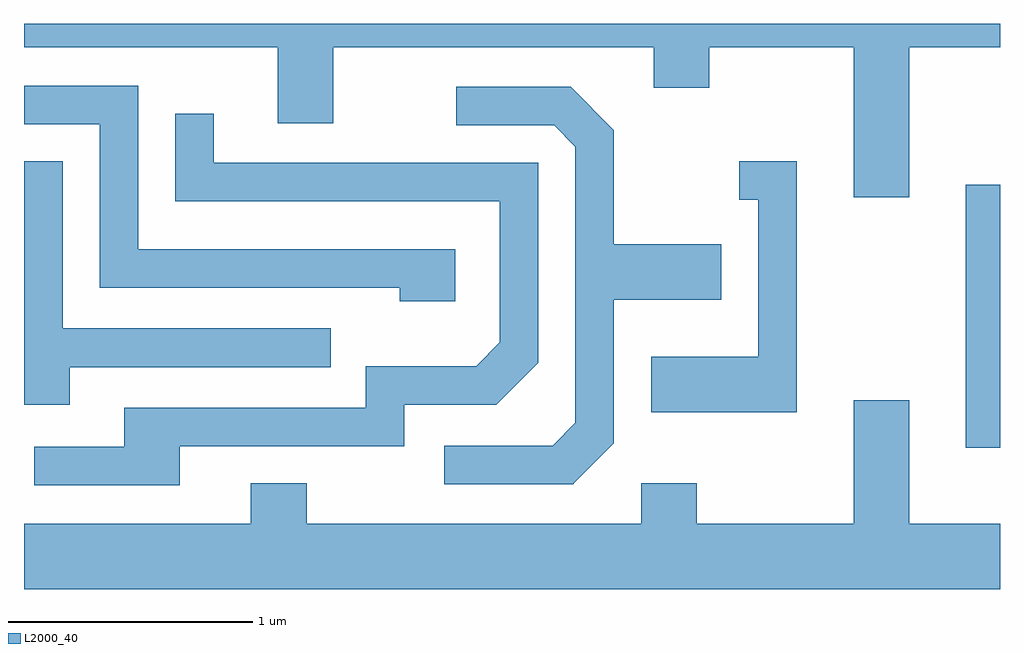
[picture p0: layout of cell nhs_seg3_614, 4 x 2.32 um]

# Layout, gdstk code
import gdstk
lib = gdstk.Library(unit=1e-6, precision=1e-09)
def R(c, l, rs):  # rectangles x0, y0, x1, y1
    for r in rs: c.add(gdstk.rectangle(r[:2], r[2:], *l))
def P(c, l, *ps):  # polygons
    for p in ps: c.add(gdstk.Polygon(p, *l))
L2000_40 = (2000, 40)

nhs_seg3_614 = lib.new_cell('nhs_seg3_614')
R(nhs_seg3_614, L2000_40, [(207.471,1122.156,207.611,1123.234)])
P(nhs_seg3_614, L2000_40, [(207.239,1123.796),(207.611,1123.796),(207.611,1123.892),(203.611,1123.892),(203.611,1123.796),(204.651,1123.796),(204.651,1123.486),(204.879,1123.486),(204.879,1123.796),(206.191,1123.796),(206.191,1123.631),(206.419,1123.631),(206.419,1123.796),(207.011,1123.796),(207.011,1123.181),(207.239,1123.181)],
  [(205.379,1122.969),(204.079,1122.969),(204.079,1123.639),(203.611,1123.639),(203.611,1123.481),(203.921,1123.481),(203.921,1122.811),(205.151,1122.811),(205.151,1122.756),(205.379,1122.756)],
  [(205.868,1122.013),(206.029,1122.174),(206.029,1122.761),(206.469,1122.761),(206.469,1122.989),(206.029,1122.989),(206.029,1123.457),(205.852,1123.634),(205.383,1123.634),(205.383,1123.476),(205.784,1123.476),(205.871,1123.389),(205.871,1122.257),(205.779,1122.164),(205.333,1122.164),(205.333,1122.006),(205.862,1122.006)],
  [(204.249,1122.161),(205.169,1122.161),(205.169,1122.331),(205.547,1122.331),(205.719,1122.504),(205.719,1123.324),(204.389,1123.324),(204.389,1123.523),(204.231,1123.523),(204.231,1123.166),(205.561,1123.166),(205.561,1122.587),(205.464,1122.489),(205.011,1122.489),(205.011,1122.319),(204.021,1122.319),(204.021,1122.159),(203.653,1122.159),(203.653,1122.001),(204.249,1122.001)],
  [(203.799,1122.486),(204.868,1122.486),(204.868,1122.644),(203.769,1122.644),(203.769,1123.329),(203.611,1123.329),(203.611,1122.331),(203.799,1122.331)],
  [(206.779,1123.329),(206.543,1123.329),(206.543,1123.171),(206.621,1123.171),(206.621,1122.529),(206.181,1122.529),(206.181,1122.301),(206.779,1122.301)],
  [(207.611,1121.844),(207.239,1121.844),(207.239,1122.349),(207.011,1122.349),(207.011,1121.844),(206.369,1121.844),(206.369,1122.009),(206.141,1122.009),(206.141,1121.844),(204.769,1121.844),(204.769,1122.009),(204.541,1122.009),(204.541,1121.844),(203.611,1121.844),(203.611,1121.576),(207.611,1121.576)])

lib.write_gds('nhs_seg3_614.gds')
